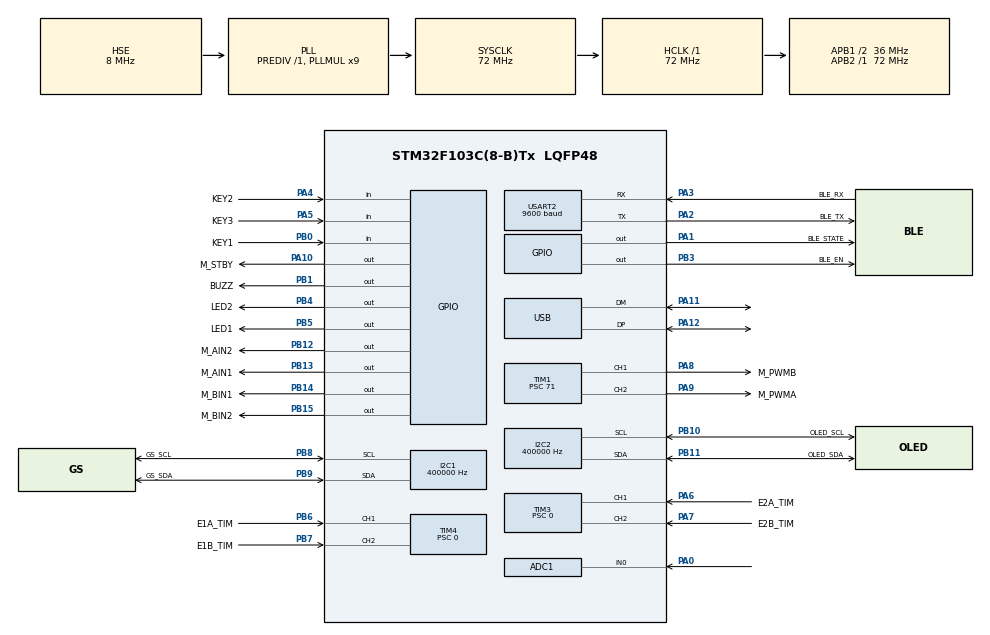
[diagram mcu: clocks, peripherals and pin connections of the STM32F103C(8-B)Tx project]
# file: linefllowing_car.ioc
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ADC1.Channel-2\#ChannelRegularConversion=ADC_CHANNEL_0
ADC1.ContinuousConvMode=ENABLE
ADC1.NbrOfConversionFlag=1
ADC1.Rank-2\#ChannelRegularConversion=1
ADC1.SamplingTime-2\#ChannelRegularConversion=ADC_SAMPLETIME_71CYCLES_5
ADC1.master=1
Dma.I2C1_RX.1.Direction=DMA_PERIPH_TO_MEMORY
Dma.I2C1_RX.1.Instance=DMA1_Channel7
Dma.I2C1_RX.1.MemDataAlignment=DMA_MDATAALIGN_BYTE
Dma.I2C1_RX.1.MemInc=DMA_MINC_ENABLE
Dma.I2C1_RX.1.Mode=DMA_NORMAL
Dma.I2C1_RX.1.PeriphDataAlignment=DMA_PDATAALIGN_BYTE
Dma.I2C1_RX.1.PeriphInc=DMA_PINC_DISABLE
Dma.I2C1_RX.1.Priority=DMA_PRIORITY_LOW
Dma.I2C2_TX.0.Direction=DMA_MEMORY_TO_PERIPH
Dma.I2C2_TX.0.Instance=DMA1_Channel4
Dma.I2C2_TX.0.MemDataAlignment=DMA_MDATAALIGN_BYTE
Dma.I2C2_TX.0.MemInc=DMA_MINC_ENABLE
Dma.I2C2_TX.0.Mode=DMA_NORMAL
Dma.I2C2_TX.0.PeriphDataAlignment=DMA_PDATAALIGN_BYTE
Dma.I2C2_TX.0.PeriphInc=DMA_PINC_DISABLE
Dma.I2C2_TX.0.Priority=DMA_PRIORITY_LOW
Dma.Request0=I2C2_TX
Dma.Request1=I2C1_RX
I2C1.ClockSpeed=400000
I2C1.I2C_Mode=I2C_Fast
I2C2.ClockSpeed=400000
I2C2.I2C_Mode=I2C_Fast
Mcu.Family=STM32F1
Mcu.Name=STM32F103C(8-B)Tx
Mcu.Package=LQFP48
NVIC.ADC1_2_IRQn=true\:5\:0\:true\:false\:true\:true\:true\:true
NVIC.DMA1_Channel4_IRQn=true\:6\:0\:true\:false\:true\:false\:true\:true
NVIC.DMA1_Channel7_IRQn=true\:6\:0\:true\:false\:true\:false\:true\:true
NVIC.I2C1_ER_IRQn=true\:6\:0\:true\:false\:true\:true\:true\:true
NVIC.I2C1_EV_IRQn=true\:6\:0\:true\:false\:true\:true\:true\:true
NVIC.I2C2_ER_IRQn=true\:6\:0\:true\:false\:true\:true\:true\:true
NVIC.I2C2_EV_IRQn=true\:6\:0\:true\:false\:true\:true\:true\:true
NVIC.PriorityGroup=NVIC_PRIORITYGROUP_4
NVIC.TIM2_IRQn=true\:15\:0\:false\:false\:true\:false\:true\:true
NVIC.TimeBase=TIM2_IRQn
NVIC.TimeBaseIP=TIM2
NVIC.USART2_IRQn=true\:5\:0\:true\:false\:true\:true\:true\:true
PA0-WKUP.Signal=ADCx_IN0
PA1.GPIO_Mode=GPIO_MODE_INPUT
PA1.GPIO_PuPd=GPIO_PULLDOWN
PA1.GPIO_Label=BLE_STATE
PA1.Signal=GPIO_Output
PA10.GPIO_Label=M_STBY
PA10.Signal=GPIO_Output
PA11.Mode=Device
PA11.Signal=USB_DM
PA12.Mode=Device
PA12.Signal=USB_DP
PA13.Mode=Serial_Wire
PA13.Signal=SYS_JTMS-SWDIO
PA14.Mode=Serial_Wire
PA14.Signal=SYS_JTCK-SWCLK
PA2.GPIO_Label=BLE_TX
PA2.Mode=Asynchronous
PA2.Signal=USART2_TX
PA3.GPIO_Label=BLE_RX
PA3.Mode=Asynchronous
PA3.Signal=USART2_RX
PA3.GPIO_PuPd=GPIO_PULLUP
PA4.GPIO_Label=KEY2
PA4.GPIO_PuPd=GPIO_PULLUP
PA4.Signal=GPIO_Input
PA5.GPIO_Label=KEY3
PA5.GPIO_PuPd=GPIO_PULLUP
PA5.Signal=GPIO_Input
PA6.GPIO_Label=E2A_TIM
PA6.GPIO_PuPd=GPIO_PULLUP
PA6.Signal=S_TIM3_CH1
PA7.GPIO_Label=E2B_TIM
PA7.GPIO_PuPd=GPIO_PULLUP
PA7.Signal=S_TIM3_CH2
PA8.GPIO_Label=M_PWMB
PA8.Signal=S_TIM1_CH1
PA9.GPIO_Label=M_PWMA
PA9.Signal=S_TIM1_CH2
PB0.GPIO_Label=KEY1
PB0.GPIO_PuPd=GPIO_PULLUP
PB0.Signal=GPIO_Input
PB1.GPIO_Label=BUZZ
PB1.PinState=GPIO_PIN_RESET
PB1.Signal=GPIO_Output
PB10.GPIO_Label=OLED_SCL
PB10.Mode=I2C
PB10.Signal=I2C2_SCL
PB11.GPIO_Label=OLED_SDA
PB11.Mode=I2C
PB11.Signal=I2C2_SDA
PB12.GPIO_Label=M_AIN2
PB12.Signal=GPIO_Output
PB13.GPIO_Label=M_AIN1
PB13.Signal=GPIO_Output
PB14.GPIO_Label=M_BIN1
PB14.Signal=GPIO_Output
PB15.GPIO_Label=M_BIN2
PB15.Signal=GPIO_Output
PB3.GPIO_Label=BLE_EN
PB3.Signal=GPIO_Output
PB4.GPIO_Label=LED2
PB4.PinState=GPIO_PIN_SET
PB4.Signal=GPIO_Output
PB5.GPIO_Label=LED1
PB5.PinState=GPIO_PIN_SET
PB5.Signal=GPIO_Output
PB6.GPIO_Label=E1A_TIM
PB6.GPIO_PuPd=GPIO_PULLUP
PB6.Signal=S_TIM4_CH1
PB7.GPIO_Label=E1B_TIM
PB7.GPIO_PuPd=GPIO_PULLUP
PB7.Signal=S_TIM4_CH2
PB8.GPIO_Label=GS_SCL
PB8.Mode=I2C
PB8.Signal=I2C1_SCL
PB9.GPIO_Label=GS_SDA
PB9.Mode=I2C
PB9.Signal=I2C1_SDA
PC14-OSC32_IN.Mode=LSE-External-Oscillator
PC14-OSC32_IN.Signal=RCC_OSC32_IN
PC15-OSC32_OUT.Mode=LSE-External-Oscillator
PC15-OSC32_OUT.Signal=RCC_OSC32_OUT
PD0-OSC_IN.Mode=HSE-External-Oscillator
PD0-OSC_IN.Signal=RCC_OSC_IN
PD1-OSC_OUT.Mode=HSE-External-Oscillator
PD1-OSC_OUT.Signal=RCC_OSC_OUT
ProjectManager.HeapSize=0x200
ProjectManager.StackSize=0x400
ProjectManager.TargetToolchain=CMake
RCC.ADCPresc=RCC_ADCPCLK2_DIV6
RCC.AHBFreq_Value=72000000
RCC.APB1CLKDivider=RCC_HCLK_DIV2
RCC.APB1Freq_Value=36000000
RCC.APB1TimFreq_Value=72000000
RCC.APB2Freq_Value=72000000
RCC.APB2TimFreq_Value=72000000
RCC.HCLKFreq_Value=72000000
RCC.PLLMUL=RCC_PLL_MUL9
RCC.PLLSourceVirtual=RCC_PLLSOURCE_HSE
RCC.SYSCLKFreq_VALUE=72000000
RCC.SYSCLKSource=RCC_SYSCLKSOURCE_PLLCLK
RCC.USBFreq_Value=48000000
RCC.USBPrescaler=RCC_USBCLKSOURCE_PLL_DIV1_5
SH.ADCx_IN0.0=ADC1_IN0,IN0
SH.S_TIM1_CH1.0=TIM1_CH1,PWM Generation1 CH1
SH.S_TIM1_CH2.0=TIM1_CH2,PWM Generation2 CH2
SH.S_TIM3_CH1.0=TIM3_CH1,Encoder_Interface
SH.S_TIM3_CH2.0=TIM3_CH2,Encoder_Interface
SH.S_TIM4_CH1.0=TIM4_CH1,Encoder_Interface
SH.S_TIM4_CH2.0=TIM4_CH2,Encoder_Interface
TIM1.Channel-PWM\ Generation1\ CH1=TIM_CHANNEL_1
TIM1.Channel-PWM\ Generation2\ CH2=TIM_CHANNEL_2
TIM1.Period=99
TIM1.Prescaler=71
TIM3.EncoderMode=TIM_ENCODERMODE_TI12
TIM3.Prescaler=0
TIM4.EncoderMode=TIM_ENCODERMODE_TI12
TIM4.Prescaler=0
USART2.BaudRate=9600
USART2.VirtualMode=VM_ASYNC
VP_SYS_VS_tim2.Mode=TIM2
board=custom

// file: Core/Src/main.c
/* USER CODE BEGIN Header */
/**
  ******************************************************************************
  * @file           : main.c
  * @brief          : Main program body
  ******************************************************************************
  * @attention
  *
  * Copyright (c) 2026 STMicroelectronics.
  * All rights reserved.
  *
  * This software is licensed under terms that can be found in the LICENSE file
  * in the root directory of this software component.
  * If no LICENSE file comes with this software, it is provided AS-IS.
  *
  ******************************************************************************
  */
/* USER CODE END Header */
#include "main.h"

/* USER CODE BEGIN Includes */
#include "PWM.h"
#include "Encoder.h"
#include "SpeedPID.h"
#include "Gray.h"
#include "LinePD.h"
#include "Led.h"
#include "Key.h"
#include "Ble.h"
#include "MPU6050.h"
#include "Oled.h"
#include "Ble_task.h"
#include "Control_task.h"
#include "Oled_task.h"
#include <stdio.h>      /* snprintf：OLED 诊断输出 */
#include <string.h>     /* strlen：蓝牙换速提示信息用 */
/* USER CODE END Includes */

ADC_HandleTypeDef hadc1;

I2C_HandleTypeDef hi2c1;
I2C_HandleTypeDef hi2c2;
DMA_HandleTypeDef hdma_i2c1_rx;
DMA_HandleTypeDef hdma_i2c2_tx;

TIM_HandleTypeDef htim1;
TIM_HandleTypeDef htim3;
TIM_HandleTypeDef htim4;

UART_HandleTypeDef huart2;

/* USER CODE BEGIN PV */
/* 灰度巡线传感器实例。寄存器 5 的数字状态、8 路模拟值、8 路阈值都在这里面 */
Gray_Sensor_t g_gray;

/* 外环循迹 PD 控制器实例 */
Line_PD_t g_line_pd;

/* USER CODE END PV */

void SystemClock_Config(void);
static void MX_GPIO_Init(void);
static void MX_DMA_Init(void);
static void MX_I2C1_Init(void);
static void MX_I2C2_Init(void);
static void MX_TIM3_Init(void);
static void MX_TIM4_Init(void);
static void MX_ADC1_Init(void);
static void MX_TIM1_Init(void);
static void MX_USART2_UART_Init(void);

/* USER CODE BEGIN 0 */

/**
  * @brief I2C 主机发送完成回调。
  *
  * 为什么定义在 main.c 而不是 Oled.c：
  *   当 USE_HAL_I2C_REGISTER_CALLBACKS = 0 时（CubeMX 默认），HAL 库内部
  *   带有一个 __weak 的 HAL_I2C_MasterTxCpltCallback。链接器解析 HAL 自己
  *   的调用时，会先用库里的弱符号满足，导致写在 Oled.c 的强定义被
  *   --gc-sections 丢弃（回调永远不执行）。
  *
  *   main.c 的 .o 是强制参与链接的，在它里面定义强符号才能真正覆盖弱符号。
  *
  *   注意：USE_HAL_I2C_REGISTER_CALLBACKS 在 stm32f1xx_hal_conf.h 里，
  *        CubeMX 重新生成代码时会把它改回 0，所以不要依赖那个宏。
  */
void HAL_I2C_MasterTxCpltCallback(I2C_HandleTypeDef *hi2c)
{
  if (hi2c->Instance == I2C2)
  {
    /* 通知 OLED 驱动：这一笔传输已经完成，可以发下一笔了 */
    OLED_NotifyTxComplete();
  }
}

/**
  * @brief I2C 错误回调（NACK / 总线错误 / 仲裁丢失等）。
  *
  * 为什么必须实现这个回调：
  *   中断模式下，如果屏没有应答（拔掉了、地址不对、上拉缺失），
  *   HAL 只会调用 ErrorCallback，**不会**调用 TxCpltCallback。
  *   如果这里不释放信号量，OLED 驱动要白等满 OLED_DMA_TIMEOUT_MS(50ms)
  *   才超时返回，一帧 33 次传输就是 1.6 秒，屏幕看起来像卡死了。
  *
  * 这里同样调用 OLED_NotifyTxComplete()，让等待方立即醒来，
  * 由 OLED_I2C_Send 的返回值把失败上报给上层。
  */
void HAL_I2C_ErrorCallback(I2C_HandleTypeDef *hi2c)
{
  if (hi2c->Instance == I2C2)
  {
    /* 清掉错误标志，避免下一笔传输被残留错误影响 */
    hi2c->ErrorCode = HAL_I2C_ERROR_NONE;

    OLED_NotifyTxComplete();
  }
  else if (hi2c->Instance == I2C1)
  {
    /*
     * 灰度（I2C1）出错：清 busy 标志，让下一次采样能重新发起。
     * 注意 Gray_NotifyI2cError() 内部只写普通变量，
     * 绝不调用 FreeRTOS API（中断里调会触发 configASSERT 死机）。
     */
    hi2c->ErrorCode = HAL_I2C_ERROR_NONE;

    Gray_NotifyI2cError();
  }
}

/* USER CODE END 0 */

int main(void)
{

  /* MCU Configuration--------------------------------------------------------*/

  /* Reset of all peripherals, Initializes the Flash interface and the Systick. */
  HAL_Init();

  /* Configure the system clock */
  SystemClock_Config();

  /* Initialize all configured peripherals */
  MX_GPIO_Init();
  MX_DMA_Init();
  MX_I2C1_Init();
  MX_I2C2_Init();
  MX_TIM3_Init();
  MX_TIM4_Init();
  MX_ADC1_Init();
  MX_TIM1_Init();
  MX_USART2_UART_Init();
  /* USER CODE BEGIN 2 */
  Motor_Init();            /* 启动 PWM、拉高 STBY，并把电机停稳 */
  Encoder_Init();          /* 启动 TIM3 / TIM4 编码器计数 */
  Speed_PID_Init();        /* 初始化左右轮速度环，参数用 SpeedPID.h 里的默认值 */
  /*
   * 灰度传感器 I2C 总线恢复。
   *
   * 必须在第一次读传感器之前做。原因：
   *   如果模块在上电时正卡在某个半截的 I2C 事务里，
   *   它会把 SDA 一直拉低，I2C 的 BUSY 标志永远不释放，
   *   之后所有读取都会超时（表现为 e=N/N，100% 失败）。
   *
   * 这个函数会给 SCL 打 9 个时钟并产生一个 STOP，
   * 让从机释放总线。正常情况下它什么也不改变，只是多花约 20ms。
   */
  Gray_BusRecovery(&hi2c1);
  Gray_Init(&g_gray);      /* 灰度传感器驱动状态复位 */
  LinePD_Init(&g_line_pd); /* 外环循迹 PD，参数用 LinePD.h 里的默认值 */
  Led_Init();              /* 两盏 LED 全灭，清空闪烁状态 */
  Key_Init();              /* 三个按键采信当前电平作为初始稳定态 */
  BLE_Init();              /* KEY 拉低=透传模式，启动 USART2 字节中断接收 */

  /*
   * MPU6050（挂在 I2C2，和 OLED 同总线）。
   *
   * 必须在车静止时标定零偏：上电后到按下启动之前这段时间正好。
   * 没接模块时 MPU6050_Init 返回 0，后续所有接口都安全空转，
   * 不影响循迹。
   */
  if (MPU6050_Init(&hi2c2) != 0U)
  {
      (void)MPU6050_Calibrate(200U);   /* 200 × 2ms ≈ 0.4s */
  }

#if (BLE_AUTOCONFIG_ON_BOOT != 0)
  /*
   * 上电把 HC-05 配置成：从机 + 广播名 LFCar + 配对码 1234。
   * 模块上电未配对时就是 AT 模式（9600），所以这里不需要手动按 KEY；
   * 配置失败（比如模块没接）只是返回 0，不影响后面的透传。
   */
  (void)BLE_AutoConfig();
#endif

  /*
   * OLED 初始化。
   *
   * 验证阶段的"整屏填白 3 秒"测试已经移除——它每次上电都会盖住
   * OledTask 的第一帧显示，正式运行时不需要。
   *
   * 如果以后需要重新做亮屏排查，取消下面这行的注释即可：
   *     OLED_FillTest();  HAL_Delay(3000);
   *
   * 返回 0 表示屏无应答（I2C 不通）。显示是辅助功能，失败不影响整车运行，
   * 所以这里只重试一次、失败就放弃，不进入 Error_Handler。
   */
  if (OLED_Init() == 0U)
  {
    HAL_Delay(50U);
    (void)OLED_Init();       /* 再试一次：有时是上电时序问题 */
  }

  /*
   * ============ 蓝牙（HC-05）初始化 ============
   *
   * HC-05 上电默认就是【透传模式】，不需要任何 AT 指令：
   *   - 手机/电脑连上 "HC-05"（配对码 1234 或 0000）
   *   - 双方直接收发数据，串口透传
   *
   * 所以这里不需要做任何配置。BLE_Init() 已在上方把 KEY 拉低并启动接收。
   *
   * 需要改模块配置时（名称/波特率/配对码），流程是：
   *   1. 调用 BLE_EnterATMode()（KEY 拉高）
   *   2. 给模块断电再上电
   *   3. 调用 BLE_Verify() 或 BLE_SetName()/BLE_SetBaud() 等
   *   4. 调用 BLE_ExitATMode()（KEY 拉低）+ 断电重启
   */
  {
    const char *msg = "\r\n[BLE] HC-05 ready (transparent, 9600 8N1)\r\n";
    HAL_UART_Transmit(&huart2, (uint8_t *)msg, (uint16_t)strlen(msg), 100U);
  }

  /* 首次调试时把下面其中一行的注释去掉，跑一遍对应自检。
     确认硬件受控之后，务必重新注释掉，否则会影响后面的循迹逻辑。 */
  // Motor_TestSequence();      /* 电机自检：正转/滑行/反转/刹车，约 10 秒 */
  // Encoder_TestSequence();    /* 编码器自检：手拨轮子，串口打印计数，约 6 秒 */
  // Speed_PID_TestSequence();  /* 速度环自检：阶跃响应，串口打印三列数据，约 5 秒 */
  // Gray_TestSequence(&g_gray, &hi2c1);  /* 灰度自检：打印模拟值/阈值/位置，约 6 秒 */
  // Led_TestSequence();        /* LED 自检：点亮/交替闪/长闪，约 6 秒 */
  // Key_TestSequence();        /* 按键自检：实时打印电平与事件，约 20 秒 */
  // BLE_Verify();              /* 蓝牙 AT 通路验证：版本/波特率/名称/MAC，约 3 秒 */
  // OLED_TestSequence();       /* OLED 自检：全屏/边框/字符表/字体，约 5 秒 */
  // BLE_TestSequence(10U);     /* 蓝牙状态监视：STAT 引脚与连接状态，10 秒 */

  /* 上车跑圈之前必须先跑这一行，把三个符号钉死（电机默认不动，安全） */
  // LinePD_VerifySigns(&g_line_pd, &g_gray, &hi2c1, 0);

  /* ================= FreeRTOS：创建任务并启动调度器 ================= */

  /*
   * 创建蓝牙任务。必须在 vTaskStartScheduler() 之前完成。
   * BleTask_Init() 返回 0 表示堆不够（xTaskCreate 失败）——这种情况任务不会
   * 运行，而且不会有任何报错，所以这里要显式检查。
   */
  if (BleTask_Init() == 0U)
  {
    HAL_UART_Transmit(&huart2, (uint8_t *)"[FATAL] BleTask create FAILED\r\n",
                      (uint16_t)(sizeof("[FATAL] BleTask create FAILED\r\n") - 1U), 100U);
    Error_Handler();
  }

  /*
   * 创建实时控制任务（优先级 3，高于蓝牙任务）。
   * 它接管原来 while(1) 里的内环/外环/UI 三个节拍。
   * 当前 CTRL_TASK_ENABLE_MOTION = 0，电机保持停止，只验证蓝牙。
   */
  if (ControlTask_Init() == 0U)
  {
    HAL_UART_Transmit(&huart2, (uint8_t *)"[FATAL] ControlTask create FAILED\r\n",
                      (uint16_t)(sizeof("[FATAL] ControlTask create FAILED\r\n") - 1U), 100U);
    Error_Handler();
  }

  /*
   * 创建 OLED 显示任务（优先级 1，最低）。
   * 内部会创建两个计数信号量（KEY1/KEY2 各一个），用于累计按键次数。
   */
  if (OledTask_Init() == 0U)
  {
    HAL_UART_Transmit(&huart2, (uint8_t *)"[FATAL] OledTask create FAILED (heap?)\r\n",
                      (uint16_t)(sizeof("[FATAL] OledTask create FAILED (heap?)\r\n") - 1U), 100U);
    Error_Handler();
  }

  /*
   * 启动调度器。正常情况下这个函数**永不返回**。
   *
   * 只有当空闲任务或定时器任务都分配不出来（堆彻底不够）时才会返回，
   * 那时说明配置有严重问题，直接进 Error_Handler。
   *
   * 原来的裸机主循环（内环 20ms / 外环 100ms / UI 20ms）已经整体搬进
   * ControlTask_Main()，这里不再保留任何业务代码。
   */
  vTaskStartScheduler();

  /*
   * 能执行到这里 = 调度器启动失败（正常情况永不返回）。
   * 最常见原因：空闲任务或定时器任务创建不出来（堆不足）。
   */
  {
    char dbg[128];

    (void)snprintf(dbg, sizeof(dbg),
                   "[FATAL] scheduler NOT started! free heap=%u (need >=1300)\r\n",
                   (unsigned int)xPortGetFreeHeapSize());
    HAL_UART_Transmit(&huart2, (uint8_t *)dbg, (uint16_t)strlen(dbg), 100U);
  }

  Error_Handler();
  /* USER CODE END 2 */

  /* Infinite loop */
  while (1)
  {

  }
}

void SystemClock_Config(void)
{
  RCC_OscInitTypeDef RCC_OscInitStruct = {0};
  RCC_ClkInitTypeDef RCC_ClkInitStruct = {0};
  RCC_PeriphCLKInitTypeDef PeriphClkInit = {0};

  /** Initializes the RCC Oscillators according to the specified parameters
  * in the RCC_OscInitTypeDef structure.
  */
  RCC_OscInitStruct.OscillatorType = RCC_OSCILLATORTYPE_HSE;
  RCC_OscInitStruct.HSEState = RCC_HSE_ON;
  RCC_OscInitStruct.HSEPredivValue = RCC_HSE_PREDIV_DIV1;
  RCC_OscInitStruct.HSIState = RCC_HSI_ON;
  RCC_OscInitStruct.PLL.PLLState = RCC_PLL_ON;
  RCC_OscInitStruct.PLL.PLLSource = RCC_PLLSOURCE_HSE;
  RCC_OscInitStruct.PLL.PLLMUL = RCC_PLL_MUL9;
  if (HAL_RCC_OscConfig(&RCC_OscInitStruct) != HAL_OK)
  {
    Error_Handler();
  }

  /** Initializes the CPU, AHB and APB buses clocks
  */
  RCC_ClkInitStruct.ClockType = RCC_CLOCKTYPE_HCLK|RCC_CLOCKTYPE_SYSCLK
                              |RCC_CLOCKTYPE_PCLK1|RCC_CLOCKTYPE_PCLK2;
  RCC_ClkInitStruct.SYSCLKSource = RCC_SYSCLKSOURCE_PLLCLK;
  RCC_ClkInitStruct.AHBCLKDivider = RCC_SYSCLK_DIV1;
  RCC_ClkInitStruct.APB1CLKDivider = RCC_HCLK_DIV2;
  RCC_ClkInitStruct.APB2CLKDivider = RCC_HCLK_DIV1;

  if (HAL_RCC_ClockConfig(&RCC_ClkInitStruct, FLASH_LATENCY_2) != HAL_OK)
  {
    Error_Handler();
  }
  PeriphClkInit.PeriphClockSelection = RCC_PERIPHCLK_ADC|RCC_PERIPHCLK_USB;
  PeriphClkInit.AdcClockSelection = RCC_ADCPCLK2_DIV6;
  PeriphClkInit.UsbClockSelection = RCC_USBCLKSOURCE_PLL_DIV1_5;
  if (HAL_RCCEx_PeriphCLKConfig(&PeriphClkInit) != HAL_OK)
  {
    Error_Handler();
  }
}

static void MX_ADC1_Init(void)
{

  ADC_ChannelConfTypeDef sConfig = {0};

  /** Common config
  */
  hadc1.Instance = ADC1;
  hadc1.Init.ScanConvMode = ADC_SCAN_DISABLE;
  hadc1.Init.ContinuousConvMode = ENABLE;
  hadc1.Init.DiscontinuousConvMode = DISABLE;
  hadc1.Init.ExternalTrigConv = ADC_SOFTWARE_START;
  hadc1.Init.DataAlign = ADC_DATAALIGN_RIGHT;
  hadc1.Init.NbrOfConversion = 1;
  if (HAL_ADC_Init(&hadc1) != HAL_OK)
  {
    Error_Handler();
  }

  /** Configure Regular Channel
  */
  sConfig.Channel = ADC_CHANNEL_0;
  sConfig.Rank = ADC_REGULAR_RANK_1;
  sConfig.SamplingTime = ADC_SAMPLETIME_71CYCLES_5;
  if (HAL_ADC_ConfigChannel(&hadc1, &sConfig) != HAL_OK)
  {
    Error_Handler();
  }

}

static void MX_I2C1_Init(void)
{

  hi2c1.Instance = I2C1;
  hi2c1.Init.ClockSpeed = 400000;
  hi2c1.Init.DutyCycle = I2C_DUTYCYCLE_2;
  hi2c1.Init.OwnAddress1 = 0;
  hi2c1.Init.AddressingMode = I2C_ADDRESSINGMODE_7BIT;
  hi2c1.Init.DualAddressMode = I2C_DUALADDRESS_DISABLE;
  hi2c1.Init.OwnAddress2 = 0;
  hi2c1.Init.GeneralCallMode = I2C_GENERALCALL_DISABLE;
  hi2c1.Init.NoStretchMode = I2C_NOSTRETCH_DISABLE;
  if (HAL_I2C_Init(&hi2c1) != HAL_OK)
  {
    Error_Handler();
  }

}

static void MX_I2C2_Init(void)
{

  hi2c2.Instance = I2C2;
  hi2c2.Init.ClockSpeed = 400000;
  hi2c2.Init.DutyCycle = I2C_DUTYCYCLE_2;
  hi2c2.Init.OwnAddress1 = 0;
  hi2c2.Init.AddressingMode = I2C_ADDRESSINGMODE_7BIT;
  hi2c2.Init.DualAddressMode = I2C_DUALADDRESS_DISABLE;
  hi2c2.Init.OwnAddress2 = 0;
  hi2c2.Init.GeneralCallMode = I2C_GENERALCALL_DISABLE;
  hi2c2.Init.NoStretchMode = I2C_NOSTRETCH_DISABLE;
  if (HAL_I2C_Init(&hi2c2) != HAL_OK)
  {
    Error_Handler();
  }

}

static void MX_TIM1_Init(void)
{

  TIM_MasterConfigTypeDef sMasterConfig = {0};
  TIM_OC_InitTypeDef sConfigOC = {0};
  TIM_BreakDeadTimeConfigTypeDef sBreakDeadTimeConfig = {0};

  htim1.Instance = TIM1;
  htim1.Init.Prescaler = 71;
  htim1.Init.CounterMode = TIM_COUNTERMODE_UP;
  htim1.Init.Period = 99;
  htim1.Init.ClockDivision = TIM_CLOCKDIVISION_DIV1;
  htim1.Init.RepetitionCounter = 0;
  htim1.Init.AutoReloadPreload = TIM_AUTORELOAD_PRELOAD_DISABLE;
  if (HAL_TIM_PWM_Init(&htim1) != HAL_OK)
  {
    Error_Handler();
  }
  sMasterConfig.MasterOutputTrigger = TIM_TRGO_RESET;
  sMasterConfig.MasterSlaveMode = TIM_MASTERSLAVEMODE_DISABLE;
  if (HAL_TIMEx_MasterConfigSynchronization(&htim1, &sMasterConfig) != HAL_OK)
  {
    Error_Handler();
  }
  sConfigOC.OCMode = TIM_OCMODE_PWM1;
  sConfigOC.Pulse = 0;
  sConfigOC.OCPolarity = TIM_OCPOLARITY_HIGH;
  sConfigOC.OCNPolarity = TIM_OCNPOLARITY_HIGH;
  sConfigOC.OCFastMode = TIM_OCFAST_DISABLE;
  sConfigOC.OCIdleState = TIM_OCIDLESTATE_RESET;
  sConfigOC.OCNIdleState = TIM_OCNIDLESTATE_RESET;
  if (HAL_TIM_PWM_ConfigChannel(&htim1, &sConfigOC, TIM_CHANNEL_1) != HAL_OK)
  {
    Error_Handler();
  }
  if (HAL_TIM_PWM_ConfigChannel(&htim1, &sConfigOC, TIM_CHANNEL_2) != HAL_OK)
  {
    Error_Handler();
  }
  sBreakDeadTimeConfig.OffStateRunMode = TIM_OSSR_DISABLE;
  sBreakDeadTimeConfig.OffStateIDLEMode = TIM_OSSI_DISABLE;
  sBreakDeadTimeConfig.LockLevel = TIM_LOCKLEVEL_OFF;
  sBreakDeadTimeConfig.DeadTime = 0;
  sBreakDeadTimeConfig.BreakState = TIM_BREAK_DISABLE;
  sBreakDeadTimeConfig.BreakPolarity = TIM_BREAKPOLARITY_HIGH;
  sBreakDeadTimeConfig.AutomaticOutput = TIM_AUTOMATICOUTPUT_DISABLE;
  if (HAL_TIMEx_ConfigBreakDeadTime(&htim1, &sBreakDeadTimeConfig) != HAL_OK)
  {
    Error_Handler();
  }
  HAL_TIM_MspPostInit(&htim1);

}

static void MX_TIM3_Init(void)
{

  TIM_Encoder_InitTypeDef sConfig = {0};
  TIM_MasterConfigTypeDef sMasterConfig = {0};

  htim3.Instance = TIM3;
  htim3.Init.Prescaler = 0;
  htim3.Init.CounterMode = TIM_COUNTERMODE_UP;
  htim3.Init.Period = 65535;
  htim3.Init.ClockDivision = TIM_CLOCKDIVISION_DIV1;
  htim3.Init.AutoReloadPreload = TIM_AUTORELOAD_PRELOAD_DISABLE;
  sConfig.EncoderMode = TIM_ENCODERMODE_TI12;
  sConfig.IC1Polarity = TIM_ICPOLARITY_RISING;
  sConfig.IC1Selection = TIM_ICSELECTION_DIRECTTI;
  sConfig.IC1Prescaler = TIM_ICPSC_DIV1;
  sConfig.IC1Filter = 0;
  sConfig.IC2Polarity = TIM_ICPOLARITY_RISING;
  sConfig.IC2Selection = TIM_ICSELECTION_DIRECTTI;
  sConfig.IC2Prescaler = TIM_ICPSC_DIV1;
  sConfig.IC2Filter = 0;
  if (HAL_TIM_Encoder_Init(&htim3, &sConfig) != HAL_OK)
  {
    Error_Handler();
  }
  sMasterConfig.MasterOutputTrigger = TIM_TRGO_RESET;
  sMasterConfig.MasterSlaveMode = TIM_MASTERSLAVEMODE_DISABLE;
  if (HAL_TIMEx_MasterConfigSynchronization(&htim3, &sMasterConfig) != HAL_OK)
  {
    Error_Handler();
  }

}

static void MX_TIM4_Init(void)
{

  TIM_Encoder_InitTypeDef sConfig = {0};
  TIM_MasterConfigTypeDef sMasterConfig = {0};

  htim4.Instance = TIM4;
  htim4.Init.Prescaler = 0;
  htim4.Init.CounterMode = TIM_COUNTERMODE_UP;
  htim4.Init.Period = 65535;
  htim4.Init.ClockDivision = TIM_CLOCKDIVISION_DIV1;
  htim4.Init.AutoReloadPreload = TIM_AUTORELOAD_PRELOAD_DISABLE;
  sConfig.EncoderMode = TIM_ENCODERMODE_TI12;
  sConfig.IC1Polarity = TIM_ICPOLARITY_RISING;
  sConfig.IC1Selection = TIM_ICSELECTION_DIRECTTI;
  sConfig.IC1Prescaler = TIM_ICPSC_DIV1;
  sConfig.IC1Filter = 0;
  sConfig.IC2Polarity = TIM_ICPOLARITY_RISING;
  sConfig.IC2Selection = TIM_ICSELECTION_DIRECTTI;
  sConfig.IC2Prescaler = TIM_ICPSC_DIV1;
  sConfig.IC2Filter = 0;
  if (HAL_TIM_Encoder_Init(&htim4, &sConfig) != HAL_OK)
  {
    Error_Handler();
  }
  sMasterConfig.MasterOutputTrigger = TIM_TRGO_RESET;
  sMasterConfig.MasterSlaveMode = TIM_MASTERSLAVEMODE_DISABLE;
  if (HAL_TIMEx_MasterConfigSynchronization(&htim4, &sMasterConfig) != HAL_OK)
  {
    Error_Handler();
  }

}

static void MX_USART2_UART_Init(void)
{

  huart2.Instance = USART2;
  huart2.Init.BaudRate = 9600;
  huart2.Init.WordLength = UART_WORDLENGTH_8B;
  huart2.Init.StopBits = UART_STOPBITS_1;
  huart2.Init.Parity = UART_PARITY_NONE;
  huart2.Init.Mode = UART_MODE_TX_RX;
  huart2.Init.HwFlowCtl = UART_HWCONTROL_NONE;
  huart2.Init.OverSampling = UART_OVERSAMPLING_16;
  if (HAL_UART_Init(&huart2) != HAL_OK)
  {
    Error_Handler();
  }

}

static void MX_DMA_Init(void)
{

  /* DMA controller clock enable */
  __HAL_RCC_DMA1_CLK_ENABLE();

  /* DMA interrupt init */
  /* DMA1_Channel4_IRQn interrupt configuration */
  HAL_NVIC_SetPriority(DMA1_Channel4_IRQn, 6, 0);
  HAL_NVIC_EnableIRQ(DMA1_Channel4_IRQn);
  /* DMA1_Channel7_IRQn interrupt configuration */
  HAL_NVIC_SetPriority(DMA1_Channel7_IRQn, 6, 0);
  HAL_NVIC_EnableIRQ(DMA1_Channel7_IRQn);

}

static void MX_GPIO_Init(void)
{
  GPIO_InitTypeDef GPIO_InitStruct = {0};

  /* GPIO Ports Clock Enable */
  __HAL_RCC_GPIOC_CLK_ENABLE();
  __HAL_RCC_GPIOD_CLK_ENABLE();
  __HAL_RCC_GPIOA_CLK_ENABLE();
  __HAL_RCC_GPIOB_CLK_ENABLE();

  /*
   * 注意：BLE_STATE(PA1) 是【输入】—— 模块输出连接状态给 MCU 读。
   * 以前被配成推挽输出并拉低，导致：
   *   1) HAL_GPIO_ReadPin 读到的是自己的输出锁存器，恒为 0
   *      -> BLE_IsConnected() 永远返回"未连接"
   *   2) MCU 输出低电平与模块输出对顶，长时间可能损伤引脚
   * 这里只驱动真正需要输出的 M_STBY。
   */
  HAL_GPIO_WritePin(GPIOA, M_STBY_Pin, GPIO_PIN_RESET);

  /*Configure GPIO pin Output Level */
  HAL_GPIO_WritePin(GPIOB, BUZZ_Pin|M_AIN2_Pin|M_AIN1_Pin|M_BIN1_Pin
                          |M_BIN2_Pin|BLE_EN_Pin, GPIO_PIN_RESET);

  /*Configure GPIO pin Output Level */
  HAL_GPIO_WritePin(GPIOB, LED2_Pin|LED1_Pin, GPIO_PIN_SET);

  /*Configure GPIO pin : M_STBY_Pin */
  GPIO_InitStruct.Pin = M_STBY_Pin;
  GPIO_InitStruct.Mode = GPIO_MODE_OUTPUT_PP;
  GPIO_InitStruct.Pull = GPIO_NOPULL;
  GPIO_InitStruct.Speed = GPIO_SPEED_FREQ_LOW;
  HAL_GPIO_Init(GPIOA, &GPIO_InitStruct);

  /*
   * BLE_STATE 用【下拉】：
   *   模块未接/未连接 -> 引脚被下拉为低 -> BLE_IsConnected() = 0（正确）
   *   模块连接后自己输出高 -> 读到高 -> = 1
   * 若用上拉，模块没插时会一直误报"已连接"。
   */
  GPIO_InitStruct.Pin = BLE_STATE_Pin;
  GPIO_InitStruct.Mode = GPIO_MODE_INPUT;
  GPIO_InitStruct.Pull = GPIO_PULLDOWN;
  HAL_GPIO_Init(GPIOA, &GPIO_InitStruct);

  /*Configure GPIO pins : KEY2_Pin KEY3_Pin */
  GPIO_InitStruct.Pin = KEY2_Pin|KEY3_Pin;
  GPIO_InitStruct.Mode = GPIO_MODE_INPUT;
  GPIO_InitStruct.Pull = GPIO_PULLUP;
  HAL_GPIO_Init(GPIOA, &GPIO_InitStruct);

  /*Configure GPIO pin : KEY1_Pin */
  GPIO_InitStruct.Pin = KEY1_Pin;
  GPIO_InitStruct.Mode = GPIO_MODE_INPUT;
  GPIO_InitStruct.Pull = GPIO_PULLUP;
  HAL_GPIO_Init(KEY1_GPIO_Port, &GPIO_InitStruct);

  /*Configure GPIO pins : BUZZ_Pin M_AIN2_Pin M_AIN1_Pin M_BIN1_Pin
                           M_BIN2_Pin BLE_EN_Pin LED2_Pin LED1_Pin */
  GPIO_InitStruct.Pin = BUZZ_Pin|M_AIN2_Pin|M_AIN1_Pin|M_BIN1_Pin
                          |M_BIN2_Pin|BLE_EN_Pin|LED2_Pin|LED1_Pin;
  GPIO_InitStruct.Mode = GPIO_MODE_OUTPUT_PP;
  GPIO_InitStruct.Pull = GPIO_NOPULL;
  GPIO_InitStruct.Speed = GPIO_SPEED_FREQ_LOW;
  HAL_GPIO_Init(GPIOB, &GPIO_InitStruct);

}

void HAL_TIM_PeriodElapsedCallback(TIM_HandleTypeDef *htim)
{
  if (htim->Instance == TIM2)
  {
    HAL_IncTick();
  }
}

void Error_Handler(void)
{
  __disable_irq();
  while (1)
  {
  }
}
